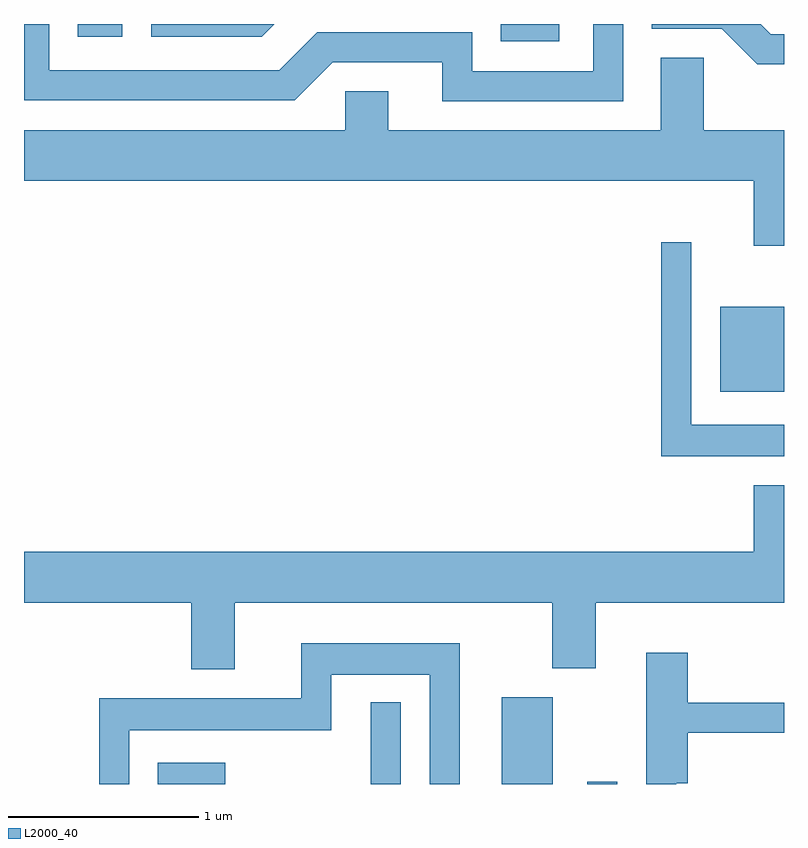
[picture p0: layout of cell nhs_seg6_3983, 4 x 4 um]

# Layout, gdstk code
import gdstk
lib = gdstk.Library(unit=1e-6, precision=1e-09)
def R(c, l, rs):  # rectangles x0, y0, x1, y1
    for r in rs: c.add(gdstk.rectangle(r[:2], r[2:], *l))
def P(c, l, *ps):  # polygons
    for p in ps: c.add(gdstk.Polygon(p, *l))
L2000_40 = (2000, 40)

nhs_seg6_3983 = lib.new_cell('nhs_seg6_3983')
R(nhs_seg6_3983, L2000_40, [(306.316,1580.162,306.669,1580.274), (307.436,1580.162,307.594,1580.593), (308.126,1580.162,308.394,1580.619), (308.576,1580.162,308.734,1580.173), (309.276,1582.226,309.611,1582.674), (308.121,1584.071,308.429,1584.162), (305.893,1584.096,306.129,1584.162)])
P(nhs_seg6_3983, L2000_40, [(309.611,1584.109),(309.542,1584.109),(309.489,1584.162),(308.916,1584.162),(308.916,1584.136),(309.284,1584.136),(309.469,1583.951),(309.611,1583.951)],
  [(306.928,1584.162),(306.281,1584.162),(306.281,1584.096),(306.862,1584.096)],
  [(308.764,1584.162),(308.606,1584.162),(308.606,1583.914),(307.969,1583.914),(307.969,1584.119),(307.154,1584.119),(306.954,1583.919),(305.744,1583.919),(305.744,1584.162),(305.611,1584.162),(305.611,1583.761),(307.037,1583.761),(307.237,1583.961),(307.811,1583.961),(307.811,1583.756),(308.764,1583.756)],
  [(309.611,1583.604),(309.189,1583.604),(309.189,1583.984),(308.961,1583.984),(308.961,1583.604),(307.529,1583.604),(307.529,1583.809),(307.301,1583.809),(307.301,1583.604),(305.611,1583.604),(305.611,1583.336),(309.451,1583.336),(309.451,1582.996),(309.611,1582.996)],
  [(309.611,1582.054),(309.124,1582.054),(309.124,1583.013),(308.966,1583.013),(308.966,1581.886),(309.611,1581.886)],
  [(306.719,1581.116),(308.391,1581.116),(308.391,1580.771),(308.619,1580.771),(308.619,1581.116),(309.611,1581.116),(309.611,1581.734),(309.451,1581.734),(309.451,1581.384),(305.611,1581.384),(305.611,1581.116),(306.491,1581.116),(306.491,1580.766),(306.719,1580.766)],
  [(306.164,1580.446),(307.229,1580.446),(307.229,1580.736),(307.746,1580.736),(307.746,1580.162),(307.904,1580.162),(307.904,1580.904),(307.071,1580.904),(307.071,1580.614),(306.006,1580.614),(306.006,1580.162),(306.164,1580.162)],
  [(309.044,1580.166),(309.104,1580.166),(309.104,1580.431),(309.611,1580.431),(309.611,1580.589),(309.104,1580.589),(309.104,1580.854),(308.886,1580.854),(308.886,1580.162),(309.044,1580.162)])

lib.write_gds('nhs_seg6_3983.gds')
